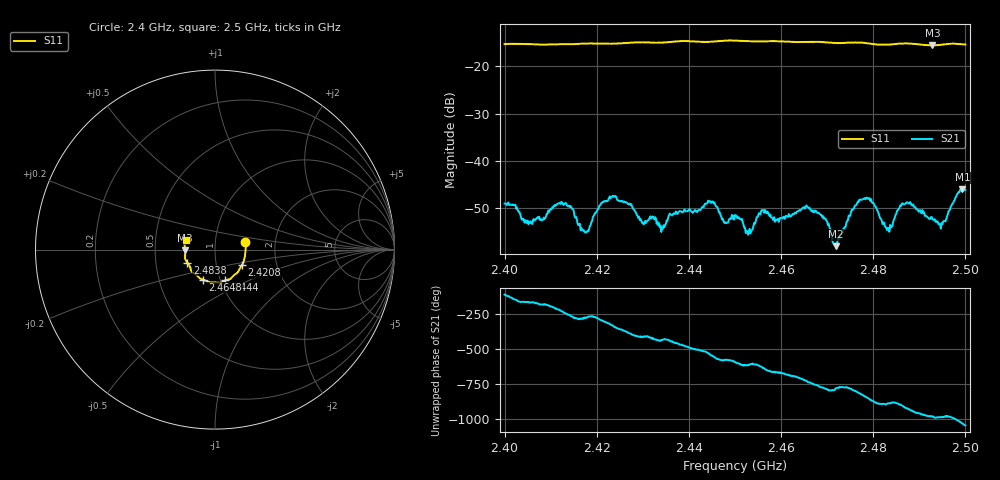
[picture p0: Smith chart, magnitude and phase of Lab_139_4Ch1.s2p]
# Hz S RI R 50
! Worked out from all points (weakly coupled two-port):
!   601 points, 2.4 GHz to 2.5 GHz, reference 50 ohm
!   highest |S21| = -46.05 dB at 2.4993 GHz (marker M1); lowest = -58.1 dB at 2.4718 GHz (marker M2)
!   lowest |S11| = -15.6 dB at 2.4928 GHz (marker M3), VSWR 1.40, Z = 35.8 - j0.312 ohm
!   |S11| at or under -10 dB: start of sweep to end of sweep
!   S12 and S22 are empty: the file has one direction only
!   S11 on the Smith chart (normalised r, x): 2.4 GHz: 1.39, +0.12; 2.4208 GHz: 1.33, -0.24; 2.444 GHz: 1.05, -0.37; 2.4648 GHz: 0.83, -0.29; 2.4838 GHz: 0.73, -0.11; 2.5 GHz: 0.72, +0.08
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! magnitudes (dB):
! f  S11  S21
! 2.4 GHz  -15.3  -49.0
! 2.4055 GHz  -15.3  -53.1
! 2.4128 GHz  -15.3  -49.3
! 2.4167 GHz  -15.2  -54.3
! 2.4208 GHz  -15.2  -49.3
! 2.4237 GHz  -15.2  -47.6
! 2.4333 GHz  -15.0  -53.7
! 2.444 GHz  -14.9  -48.9
! 2.45 GHz  -14.6  -51.5
! 2.4528 GHz  -14.7  -55.6
! 2.4562 GHz  -14.7  -50.4
! 2.4648 GHz  -14.9  -49.9
! 2.4667 GHz  -14.8  -50.5
! 2.4718 GHz  -15.1  -58.1
! 2.4777 GHz  -15.0  -48.1
! 2.4833 GHz  -15.4  -54.2
! 2.4838 GHz  -15.4  -54.1
! 2.4868 GHz  -15.2  -49.2
! 2.4928 GHz  -15.6  -52.3
! 2.4952 GHz  -15.4  -52.9
! 2.4993 GHz  -15.4  -46.1
! 2.5 GHz  -15.4  -46.1
